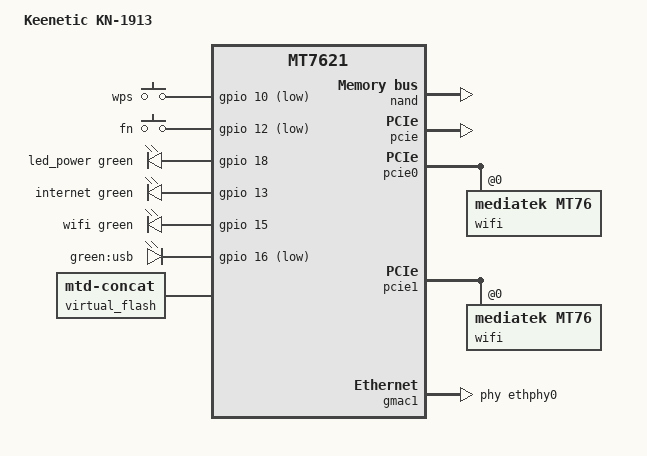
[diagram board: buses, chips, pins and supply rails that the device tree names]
// SPDX-License-Identifier: GPL-2.0-or-later OR MIT
#include "mt7621.dtsi"

#include <dt-bindings/gpio/gpio.h>
#include <dt-bindings/input/input.h>
#include <dt-bindings/leds/common.h>

/ {
	compatible = "keenetic,kn-1913", "mediatek,mt7621-soc";
	model = "Keenetic KN-1913";

	aliases {
		led-boot = &led_power;
		led-failsafe = &led_power;
		led-running = &led_power;
		led-upgrade = &led_power;
		label-mac-device = &gmac0;
	};

	keys {
		compatible = "gpio-keys";

		wps {
			label = "wps";
			gpios = <&gpio 10 GPIO_ACTIVE_LOW>;
			linux,code = <KEY_WPS_BUTTON>;
		};

		fn {
			label = "fn";
			gpios = <&gpio 12 GPIO_ACTIVE_LOW>;
			linux,code = <BTN_1>;
		};
	};

	leds {
		compatible = "gpio-leds";

		led_power: power {
			function = LED_FUNCTION_POWER;
			color = <LED_COLOR_ID_GREEN>;
			gpios = <&gpio 18 GPIO_ACTIVE_HIGH>;
		};

		internet {
			function = LED_FUNCTION_WAN;
			color = <LED_COLOR_ID_GREEN>;
			gpios = <&gpio 13 GPIO_ACTIVE_HIGH>;
		};

		wifi {
			function = LED_FUNCTION_WLAN;
			color = <LED_COLOR_ID_GREEN>;
			gpios = <&gpio 15 GPIO_ACTIVE_HIGH>;
			linux,default-trigger = "phy1tpt";
		};

		usb {
			label = "green:usb";
			gpios = <&gpio 16 GPIO_ACTIVE_LOW>;
			linux,default-trigger = "usbport";
			trigger-sources = <&hub_port2>;
		};
	};

	virtual_flash {
		compatible = "mtd-concat";
		devices = <&firmware1 &firmware2 &storage_a &storage_b>;

		partitions {
			compatible = "fixed-partitions";
			#address-cells = <1>;
			#size-cells = <1>;

			partition@0 {
				label = "kernel";
				reg = <0x0 0x400000>;
			};

			partition@400000 {
				label = "ubi";
				reg = <0x400000 0x7240000>;
			};
		};
	};
};

&nand {
	status = "okay";

	partitions {
		compatible = "fixed-partitions";
		#address-cells = <1>;
		#size-cells = <1>;

		partition@0 {
			label = "U-Boot";
			reg = <0x0 0x80000>;
			read-only;
		};

		partition@80000 {
			label = "U-Config";
			reg = <0x80000 0x80000>;
			read-only;
		};

		partition@100000 {
			label = "RF-EEPROM";
			reg = <0x100000 0x80000>;
			read-only;

			nvmem-layout {
				compatible = "fixed-layout";
				#address-cells = <1>;
				#size-cells = <1>;

				eeprom_factory_0: eeprom@0 {
					reg = <0x0 0x4da8>;
				};

				eeprom_factory_8000: eeprom@8000 {
					reg = <0x8000 0x4da8>;
				};

				macaddr_factory_4: macaddr@4 {
					compatible = "mac-base";
					reg = <0x4 0x6>;
					#nvmem-cell-cells = <1>;
				};

				macaddr_factory_28: macaddr@28 {
					reg = <0x28 0x6>;
				};
			};
		};

		firmware1: partition@180000 {
			label = "Firmware_1";
			reg = <0x180000 0x1a40000>;
		};

		partition@1bc0000 {
			label = "Config_1";
			reg = <0x1bc0000 0x80000>;
			read-only;
		};

		partition@1c40000 {
			label = "Storage_Legacy";
			reg = <0x1c40000 0x200000>;
			read-only;
		};

		partition@1e40000 {
			label = "Dump";
			reg = <0x1e40000 0x40000>;
			read-only;
		};

		storage_a: partition@1e80000 {
			label = "Storage_A";
			reg = <0x1e80000 0x1fc0000>;
		};

		partition@3e40000 {
			label = "U-State";
			reg = <0x3e40000 0x80000>;
			read-only;
		};

		partition@3ec0000 {
			label = "U-Config_res";
			reg = <0x3ec0000 0x80000>;
			read-only;
		};

		partition@3f40000 {
			label = "RF-EEPROM_res";
			reg = <0x3f40000 0x80000>;
			read-only;
		};

		firmware2: partition@3fc0000 {
			label = "Firmware_2";
			reg = <0x3fc0000 0x1a40000>;
		};

		partition@5a00000 {
			label = "Config_2";
			reg = <0x5a00000 0x80000>;
			read-only;
		};

		storage_b: partition@5a80000 {
			label = "Storage_B";
			reg = <0x5a80000 0x2200000>;
		};
	};
};

&pcie {
	status = "okay";
};

&pcie0 {
	wifi@0,0 {
		compatible = "mediatek,mt76";
		reg = <0x0000 0 0 0 0>;
		nvmem-cells = <&eeprom_factory_0>;
		nvmem-cell-names = "eeprom";
		ieee80211-freq-limit = <2400000 2500000>;
	};
};

&pcie1 {
	wifi@0,0 {
		compatible = "mediatek,mt76";
		reg = <0x0000 0 0 0 0>;
		nvmem-cells = <&eeprom_factory_8000>;
		nvmem-cell-names = "eeprom";
		ieee80211-freq-limit = <5000000 6000000>;
	};
};

&ethphy0 {
	/delete-property/ interrupts;
};

&gmac0 {
	nvmem-cells = <&macaddr_factory_4 0>;
	nvmem-cell-names = "mac-address";
};

&gmac1 {
	status = "okay";
	label = "wan";
	phy-handle = <&ethphy0>;

	nvmem-cells = <&macaddr_factory_28>;
	nvmem-cell-names = "mac-address";
};

&reg_vbus {
	/delete-property/ regulator-always-on;
	gpios = <&gpio 7 GPIO_ACTIVE_HIGH>;
	enable-active-high;
};

&reg_vusb33 {
	/delete-property/ regulator-always-on;
	gpios = <&gpio 11 GPIO_ACTIVE_HIGH>;
	enable-active-high;
};

&xhci {
	port@1 {
		status = "disabled";
	};

	hub_port2: port@2 {
		status = "okay";
	};
};

&switch0 {
	ports {
		port@1 {
			status = "okay";
		};

		port@2 {
			status = "okay";
		};

		port@3 {
			status = "okay";
		};

		port@4 {
			status = "okay";
		};
	};
};
